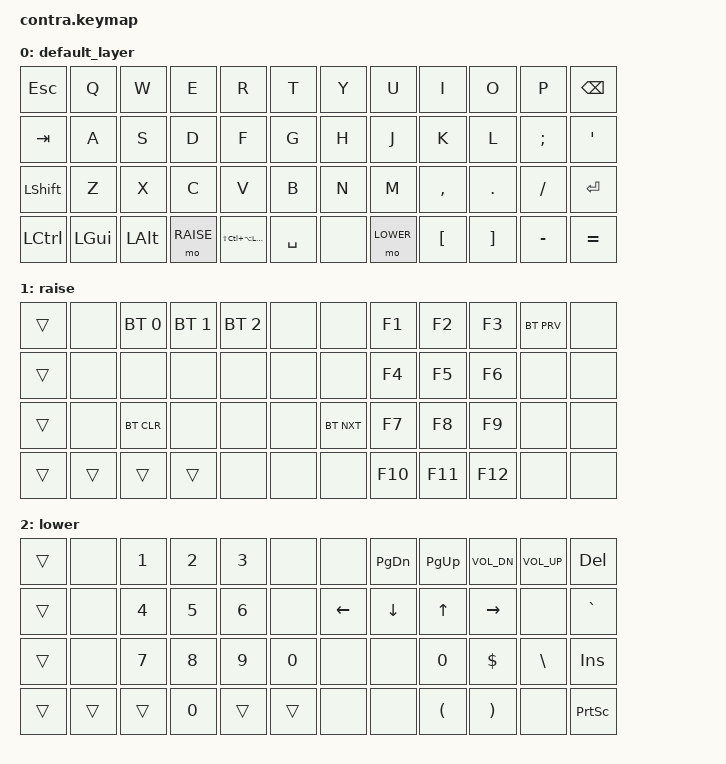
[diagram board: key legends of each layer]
/*
 * Copyright (c) 2021 The ZMK Contributors
 *
 * SPDX-License-Identifier: MIT
 */

#include <behaviors.dtsi>
#include <dt-bindings/zmk/keys.h>
#include <dt-bindings/zmk/bt.h>

#define DEFAULT  0
#define RAISE    1
#define LOWER    2

#define HYP LS(LC(LA(LGUI)))
#define HYPER(key) LS(LC(LA(LG(key))))

/ { 
    combos {
        compatible = "zmk,combos";
        combo_esc {
            timeout-ms = <25>;
            key-positions = <19 20>;
            bindings = <&kp ESC>;
        };
    };
    
    keymap {
        compatible = "zmk,keymap";

        default_layer {
            bindings = <
    &kp ESC     &kp Q      &kp W      &kp E       &kp R       &kp T       &kp Y   &kp U        &kp I       &kp O      &kp P       &kp BSPC
    &kp TAB     &kp A      &kp S      &kp D       &kp F       &kp G       &kp H   &kp J        &kp K       &kp L      &kp SEMI    &kp SQT
    &kp LSHFT   &kp Z      &kp X      &kp C       &kp V       &kp B       &kp N   &kp M        &kp COMMA   &kp DOT    &kp FSLH    &kp ENTER
    &kp LCTRL   &kp LGUI   &kp LALT   &mo RAISE   &kp HYP     &kp SPACE   &none   &mo LOWER    &kp LBKT    &kp RBKT   &kp MINUS   &kp EQUAL
            >;
        };
         
        raise {
            bindings = <
    &trans   &none    &bt BT_SEL 0  &bt BT_SEL 1  &bt BT_SEL 2  &none   &none        &kp F1    &kp F2    &kp F3    &bt BT_PRV  &none
    &trans   &none    &none         &none         &none         &none   &none        &kp F4    &kp F5    &kp F6    &none       &none
    &trans   &none    &bt BT_CLR    &none         &none         &none   &bt BT_NXT   &kp F7    &kp F8    &kp F9    &none       &none
    &trans   &trans   &trans        &trans        &none         &none   &none        &kp F10   &kp F11   &kp F12   &none       &none
            >;
        };

        lower {
            bindings = <
    &trans   &none    &kp N1   &kp N2   &kp N3   &none    &none      &kp PG_DN  &kp PG_UP  &kp C_VOL_DN   &kp C_VOL_UP   &kp DEL
    &trans   &none    &kp N4   &kp N5   &kp N6   &none    &kp LEFT   &kp DOWN   &kp UP     &kp RIGHT      &none          &kp GRAVE
    &trans   &none    &kp N7   &kp N8   &kp N9   &kp N0   &none      &none      &kp N0     &kp DOLLAR     &kp BSLH       &kp INS
    &trans   &trans   &trans   &kp N0   &trans   &trans   &none      &none      &kp LPAR   &kp RPAR       &none          &kp PSCRN
            >;
        };
    };
};
